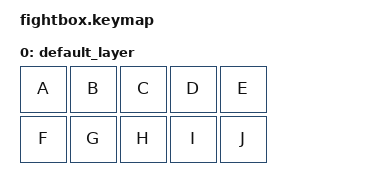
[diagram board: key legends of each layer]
#include <dt-bindings/zmk/keys.h>

/ {
    keymap {
        compatible = "zmk,keymap";

        default_layer {
            bindings = <
                &kp A &kp B &kp C &kp D &kp E
                &kp F &kp G &kp H &kp I &kp J
            >;
        };
    };
};
